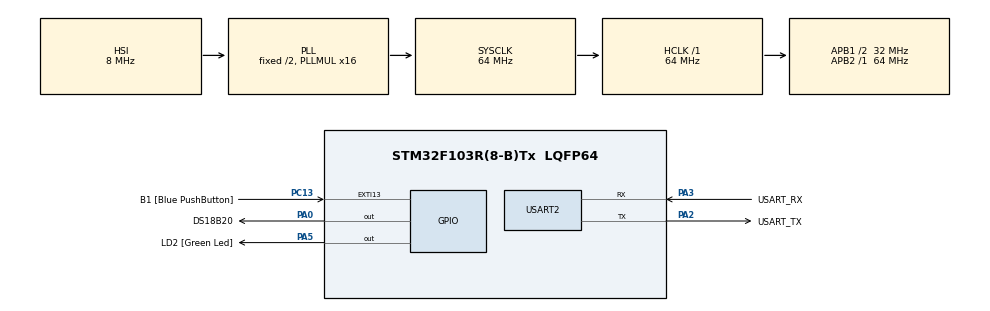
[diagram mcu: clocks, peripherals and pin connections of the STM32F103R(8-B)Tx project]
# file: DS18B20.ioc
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Mcu.Family=STM32F1
Mcu.Name=STM32F103R(8-B)Tx
Mcu.Package=LQFP64
NVIC.EXTI15_10_IRQn=true\:0\:0\:false\:false\:true\:true\:true\:true
NVIC.PriorityGroup=NVIC_PRIORITYGROUP_4
PA0-WKUP.GPIO_Label=DS18B20
PA0-WKUP.GPIO_ModeDefaultOutputPP=GPIO_MODE_OUTPUT_OD
PA0-WKUP.GPIO_PuPd=GPIO_NOPULL
PA0-WKUP.Signal=GPIO_Output
PA13.GPIO_Label=TMS
PA13.Mode=Serial_Wire
PA13.Signal=SYS_JTMS-SWDIO
PA14.GPIO_Label=TCK
PA14.Mode=Serial_Wire
PA14.Signal=SYS_JTCK-SWCLK
PA2.GPIO_Label=USART_TX
PA2.GPIO_Mode=GPIO_MODE_AF_PP
PA2.GPIO_PuPd=GPIO_NOPULL
PA2.GPIO_Speed=GPIO_SPEED_FREQ_LOW
PA2.Mode=Asynchronous
PA2.Signal=USART2_TX
PA3.GPIO_Label=USART_RX
PA3.GPIO_Mode=GPIO_MODE_AF_PP
PA3.GPIO_PuPd=GPIO_NOPULL
PA3.GPIO_Speed=GPIO_SPEED_FREQ_LOW
PA3.Mode=Asynchronous
PA3.Signal=USART2_RX
PA5.GPIO_Label=LD2 [Green Led]
PA5.GPIO_ModeDefaultOutputPP=GPIO_MODE_OUTPUT_PP
PA5.GPIO_PuPd=GPIO_NOPULL
PA5.GPIO_Speed=GPIO_SPEED_FREQ_LOW
PA5.Signal=GPIO_Output
PB3.GPIO_Label=SWO
PB3.Signal=SYS_JTDO-TRACESWO
PC13-TAMPER-RTC.GPIO_Label=B1 [Blue PushButton]
PC13-TAMPER-RTC.GPIO_ModeDefaultEXTI=GPIO_MODE_IT_FALLING
PC13-TAMPER-RTC.GPIO_PuPd=GPIO_NOPULL
PC13-TAMPER-RTC.Signal=GPXTI13
PC14-OSC32_IN.Signal=RCC_OSC32_IN
PC15-OSC32_OUT.Signal=RCC_OSC32_OUT
PD0-OSC_IN.Signal=RCC_OSC_IN
PD1-OSC_OUT.Signal=RCC_OSC_OUT
ProjectManager.HeapSize=0x200
ProjectManager.StackSize=0x400
ProjectManager.TargetToolchain=STM32CubeIDE
RCC.AHBFreq_Value=64000000
RCC.APB1CLKDivider=RCC_HCLK_DIV2
RCC.APB1Freq_Value=32000000
RCC.APB1TimFreq_Value=64000000
RCC.APB2Freq_Value=64000000
RCC.APB2TimFreq_Value=64000000
RCC.HCLKFreq_Value=64000000
RCC.PLLMUL=RCC_PLL_MUL16
RCC.SYSCLKFreq_VALUE=64000000
RCC.SYSCLKSource=RCC_SYSCLKSOURCE_PLLCLK
RCC.USBFreq_Value=64000000
TIM4.Prescaler=64
USART2.VirtualMode=VM_ASYNC
VP_TIM4_VS_ClockSourceINT.Mode=Internal
board=NUCLEO-F103RB

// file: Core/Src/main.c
/* USER CODE BEGIN Header */
/**
 ******************************************************************************
 * @file           : main.c
 * @brief          : Main program body
 ******************************************************************************
 * @attention
 *
 * Copyright (c) 2022 STMicroelectronics.
 * All rights reserved.
 *
 * This software is licensed under terms that can be found in the LICENSE file
 * in the root directory of this software component.
 * If no LICENSE file comes with this software, it is provided AS-IS.
 *
 ******************************************************************************
 */
/* USER CODE END Header */
#include "main.h"

/* USER CODE BEGIN Includes */
#include <string.h>
#include <stdio.h>
#include <math.h>
#include <ds18b20.h>
/* USER CODE END Includes */

TIM_HandleTypeDef htim4;

UART_HandleTypeDef huart2;

/* USER CODE BEGIN PV */
char SendRSData[20];						// Bufor na dane wysylane przez UART2
char DQ_Value;								// Pomocnicza zmienna do przechowywania wartości z linii DQ
uint8_t Iter = 0;

float read_temp(void){
	uint16_t temp = 0;
	uint8_t temp1 = 0;
	uint8_t temp2 = 0;

	if (_reset_pulse() == ONE_WIRE_OK) {
		_write_byte(0xCC);
		_write_byte(0x44);
		HAL_Delay(760);
	}

	if (_reset_pulse() == ONE_WIRE_OK) {
		_write_byte(0xCC);
		_write_byte(0xBE);
		temp1 = _read_byte();
		temp2 = _read_byte();
		temp = temp2;
		temp <<= 8;
		temp |= temp1;
	}

	float temp_f = 0;
	for (int i=0; i<11; i++){
		uint8_t val = 0x01 & (temp >> i);
		temp_f += (float) val * pow(2, i-4);
	}

	if (0x01 & (temp >> 14)) temp_f *= -1;

	return temp_f;
}

uint8_t ROM_CRC = 0;

/* USER CODE END PV */

void SystemClock_Config(void);
static void MX_GPIO_Init(void);
static void MX_TIM4_Init(void);
static void MX_USART2_UART_Init(void);

int main(void)
{

	/* MCU Configuration--------------------------------------------------------*/

	/* Reset of all peripherals, Initializes the Flash interface and the Systick. */
	HAL_Init();

	/* Configure the system clock */
	SystemClock_Config();

	/* Initialize all configured peripherals */
	MX_GPIO_Init();
	MX_TIM4_Init();
	MX_USART2_UART_Init();
	/* USER CODE BEGIN 2 */
	HAL_TIM_Base_Start(&htim4);
	ONE_WIRE_StatusTypeDef status = ONE_WIRE_INIT_ERROR;
	uint8_t rom[8];
	DS18B20_Inst* pointer;
	/* USER CODE END 2 */

	/* Infinite loop */
	/* USER CODE BEGIN WHILE */
	while (1)
	{
		status = _reset_pulse();
		if (status == ONE_WIRE_OK) _write_byte(0x33);
		_delay_us(10);
		for (int i=0; i < 8; i++){
			rom[i] = _read_byte();
			if (i < 7)
				ROM_CRC = _update_CRC(&ROM_CRC, rom[i]);
			_delay_us(10);
		}

//		HAL_UART_Transmit(&huart2, rom, 8, 100);
//		ROM_CRC = 0;
		//		HAL_UART_Transmit(&huart2, (uint8_t *) "\n", 1, HAL_MAX_DELAY);

		 //Temperature
//				float temp = read_temp();
//				sprintf(SendRSData, "%2.2f C \n\r", temp);
//				HAL_UART_Transmit( &huart2, (uint8_t *) SendRSData, strlen(SendRSData), 100);

		_delay_us(15);
		pointer = identify_devices(_one_wire_bus);

		/* USER CODE END WHILE */

	}
}

void SystemClock_Config(void)
{
	RCC_OscInitTypeDef RCC_OscInitStruct = {0};
	RCC_ClkInitTypeDef RCC_ClkInitStruct = {0};

	/** Initializes the RCC Oscillators according to the specified parameters
	 * in the RCC_OscInitTypeDef structure.
	 */
	RCC_OscInitStruct.OscillatorType = RCC_OSCILLATORTYPE_HSI;
	RCC_OscInitStruct.HSIState = RCC_HSI_ON;
	RCC_OscInitStruct.HSICalibrationValue = RCC_HSICALIBRATION_DEFAULT;
	RCC_OscInitStruct.PLL.PLLState = RCC_PLL_ON;
	RCC_OscInitStruct.PLL.PLLSource = RCC_PLLSOURCE_HSI_DIV2;
	RCC_OscInitStruct.PLL.PLLMUL = RCC_PLL_MUL16;
	if (HAL_RCC_OscConfig(&RCC_OscInitStruct) != HAL_OK)
	{
		Error_Handler();
	}

	/** Initializes the CPU, AHB and APB buses clocks
	 */
	RCC_ClkInitStruct.ClockType = RCC_CLOCKTYPE_HCLK|RCC_CLOCKTYPE_SYSCLK
			|RCC_CLOCKTYPE_PCLK1|RCC_CLOCKTYPE_PCLK2;
	RCC_ClkInitStruct.SYSCLKSource = RCC_SYSCLKSOURCE_PLLCLK;
	RCC_ClkInitStruct.AHBCLKDivider = RCC_SYSCLK_DIV1;
	RCC_ClkInitStruct.APB1CLKDivider = RCC_HCLK_DIV2;
	RCC_ClkInitStruct.APB2CLKDivider = RCC_HCLK_DIV1;

	if (HAL_RCC_ClockConfig(&RCC_ClkInitStruct, FLASH_LATENCY_2) != HAL_OK)
	{
		Error_Handler();
	}
}

static void MX_TIM4_Init(void)
{

	TIM_ClockConfigTypeDef sClockSourceConfig = {0};
	TIM_MasterConfigTypeDef sMasterConfig = {0};

	htim4.Instance = TIM4;
	htim4.Init.Prescaler = 64;
	htim4.Init.CounterMode = TIM_COUNTERMODE_UP;
	htim4.Init.Period = 65535;
	htim4.Init.ClockDivision = TIM_CLOCKDIVISION_DIV1;
	htim4.Init.AutoReloadPreload = TIM_AUTORELOAD_PRELOAD_DISABLE;
	if (HAL_TIM_Base_Init(&htim4) != HAL_OK)
	{
		Error_Handler();
	}
	sClockSourceConfig.ClockSource = TIM_CLOCKSOURCE_INTERNAL;
	if (HAL_TIM_ConfigClockSource(&htim4, &sClockSourceConfig) != HAL_OK)
	{
		Error_Handler();
	}
	sMasterConfig.MasterOutputTrigger = TIM_TRGO_RESET;
	sMasterConfig.MasterSlaveMode = TIM_MASTERSLAVEMODE_DISABLE;
	if (HAL_TIMEx_MasterConfigSynchronization(&htim4, &sMasterConfig) != HAL_OK)
	{
		Error_Handler();
	}

}

static void MX_USART2_UART_Init(void)
{

	huart2.Instance = USART2;
	huart2.Init.BaudRate = 115200;
	huart2.Init.WordLength = UART_WORDLENGTH_8B;
	huart2.Init.StopBits = UART_STOPBITS_1;
	huart2.Init.Parity = UART_PARITY_NONE;
	huart2.Init.Mode = UART_MODE_TX_RX;
	huart2.Init.HwFlowCtl = UART_HWCONTROL_NONE;
	huart2.Init.OverSampling = UART_OVERSAMPLING_16;
	if (HAL_UART_Init(&huart2) != HAL_OK)
	{
		Error_Handler();
	}

}

static void MX_GPIO_Init(void)
{
	GPIO_InitTypeDef GPIO_InitStruct = {0};

	/* GPIO Ports Clock Enable */
	__HAL_RCC_GPIOC_CLK_ENABLE();
	__HAL_RCC_GPIOD_CLK_ENABLE();
	__HAL_RCC_GPIOA_CLK_ENABLE();
	__HAL_RCC_GPIOB_CLK_ENABLE();

	/*Configure GPIO pin Output Level */
	HAL_GPIO_WritePin(GPIOA, DS18B20_Pin|LD2_Pin, GPIO_PIN_RESET);

	/*Configure GPIO pin : B1_Pin */
	GPIO_InitStruct.Pin = B1_Pin;
	GPIO_InitStruct.Mode = GPIO_MODE_IT_FALLING;
	GPIO_InitStruct.Pull = GPIO_NOPULL;
	HAL_GPIO_Init(B1_GPIO_Port, &GPIO_InitStruct);

	/*Configure GPIO pin : DS18B20_Pin */
	GPIO_InitStruct.Pin = DS18B20_Pin;
	GPIO_InitStruct.Mode = GPIO_MODE_OUTPUT_OD;
	GPIO_InitStruct.Pull = GPIO_NOPULL;
	GPIO_InitStruct.Speed = GPIO_SPEED_FREQ_LOW;
	HAL_GPIO_Init(DS18B20_GPIO_Port, &GPIO_InitStruct);

	/*Configure GPIO pin : LD2_Pin */
	GPIO_InitStruct.Pin = LD2_Pin;
	GPIO_InitStruct.Mode = GPIO_MODE_OUTPUT_PP;
	GPIO_InitStruct.Pull = GPIO_NOPULL;
	GPIO_InitStruct.Speed = GPIO_SPEED_FREQ_LOW;
	HAL_GPIO_Init(LD2_GPIO_Port, &GPIO_InitStruct);

	/* EXTI interrupt init*/
	HAL_NVIC_SetPriority(EXTI15_10_IRQn, 0, 0);
	HAL_NVIC_EnableIRQ(EXTI15_10_IRQn);

}

void Error_Handler(void)
{
	__disable_irq();
	while (1)
	{
	}
}
